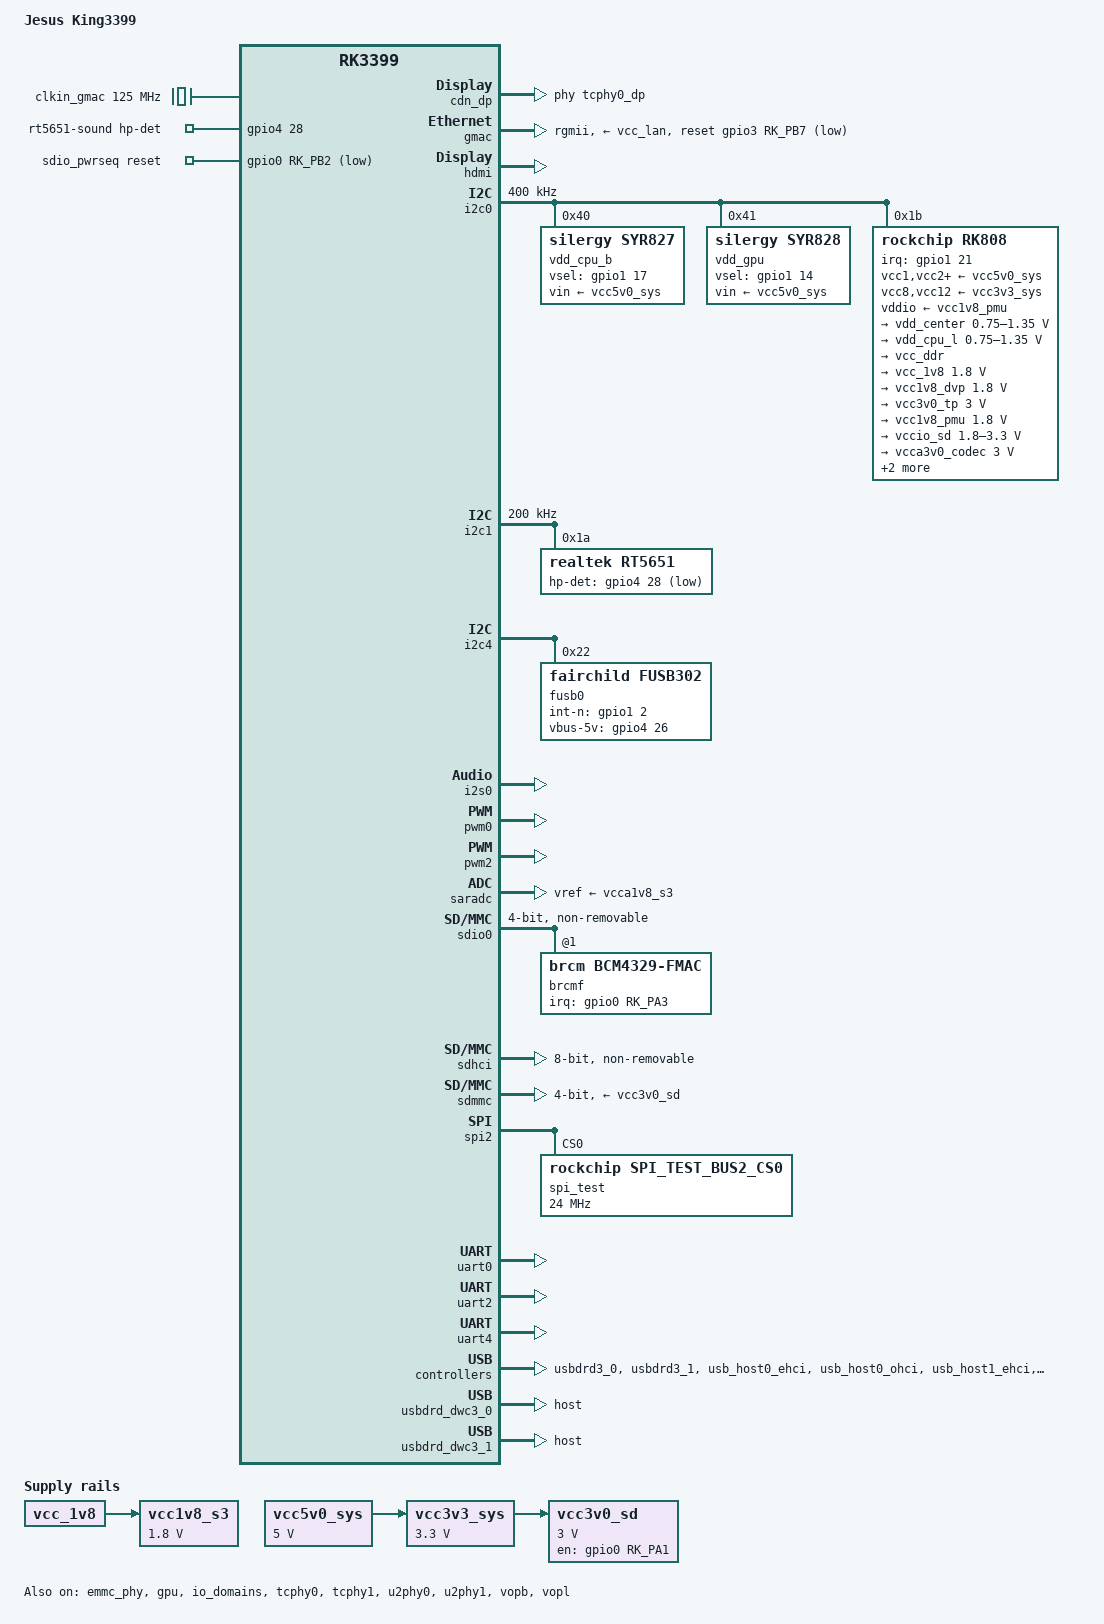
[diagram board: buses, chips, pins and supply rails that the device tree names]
/dts-v1/;
#include "dt-bindings/pwm/pwm.h"
#include "dt-bindings/input/input.h"
#include "rk3399.dtsi"
#include "rk3399-opp.dtsi"
// #include "rk3399-sapphire.dtsi"

/ {

	model = "Jesus King3399";
	compatible = "jesus,king3399","rongpin,king3399","rockchip,rk3399-excavator-linux", "rockchip,rk3399";

	clkin_gmac: external-gmac-clock {
		compatible = "fixed-clock";
		clock-frequency = <125000000>;
		clock-output-names = "clkin_gmac";
		#clock-cells = <0>;
	};

	rt5651-sound {
		compatible = "simple-audio-card";
		simple-audio-card,name = "realtek,rt5651-codec";
		simple-audio-card,widgets =
			"Microphone", "Mic Jack",
			"Headphone", "Headphone Jack";
		simple-audio-card,routing =
			"Mic Jack", "micbias1",
			"IN1P", "Mic Jack",
			"Headphone Jack", "HPOL",
			"Headphone Jack", "HPOR";
		simple-audio-card,hp-det-gpio = <&gpio4 28 GPIO_ACTIVE_HIGH>;
		simple-audio-card,dai-link {
			format = "i2s";
			mclk-fs = <256>;
			i2s0_dai: cpu {
				sound-dai = <&i2s0>;
			};
			rt5651_dai: codec {
				sound-dai = <&rt5651>;
			};
		};
	};

	rp_power {
	    compatible = "rp_power";

	    rp_not_deep_sleep = <1>;
	    status = "okay";

	    // GPIO_FUNCTION_OUTPUT 0
	    // GPIO_FUNCTION_INPUT 1
	    // GPIO_FUNCTION_IRQ 2
	    // GPIO_FUNCTION_FLASH 3
	    // GPIO_FUNCTION_OUTPUT_CTRL 4

	    breathe-led { //run led
		gpio_num = <&gpio4 24 GPIO_ACTIVE_HIGH>;
		gpio_function = <3>;
	    };

	    power_en {
		gpio_num = <&gpio4 30 GPIO_ACTIVE_HIGH>;
		gpio_function = <4>;
	    };

	    uart5_en {
		gpio_num = <&gpio4 29 GPIO_ACTIVE_HIGH>;
		gpio_function = <4>;
	    };

	    hub_rst {
		gpio_num = <&gpio1 24 GPIO_ACTIVE_HIGH>;
		gpio_function = <4>;
	    };

	    fan_open {
		gpio_num = <&gpio1 18 GPIO_ACTIVE_HIGH>;
		gpio_function = <4>;
	    };

	    gsm_power_en {
		gpio_num = <&gpio4 22 GPIO_ACTIVE_HIGH>;
		gpio_function = <4>;
	    };
	};

	rp_gpio {
		status = "okay";
		compatible = "rp_gpio";
		base_value = <0>; //3288_5.1 = 0   3288_7.1.2 = 992  3288_ubuntu = 992   3399_7.1.2 = 1000 3399_ubuntu = 0

		gpio4c5 {
			gpio_num = <&gpio4 21 GPIO_ACTIVE_HIGH>;
			gpio_function = <0>;	    //0:output，1:input
		};
	};

	/* switched by pmic_sleep */
	vcc1v8_s3: vcca1v8_s3: vcc1v8-s3 {
		compatible = "regulator-fixed";
		regulator-name = "vcc1v8_s3";
		regulator-always-on;
		regulator-boot-on;
		regulator-min-microvolt = <1800000>;
		regulator-max-microvolt = <1800000>;
		vin-supply = <&vcc_1v8>;
	};

	vcc3v0_sd: vcc3v0-sd {
		compatible = "regulator-fixed";
		enable-active-high;
		gpio = <&gpio0 RK_PA1 GPIO_ACTIVE_HIGH>;
		pinctrl-names = "default";
		pinctrl-0 = <&sdmmc0_pwr_h>;
		regulator-always-on;
		regulator-max-microvolt = <3000000>;
		regulator-min-microvolt = <3000000>;
		regulator-name = "vcc3v0_sd";
		vin-supply = <&vcc3v3_sys>;
	};

	vcc3v3_sys: vcc3v3-sys {
		compatible = "regulator-fixed";
		regulator-name = "vcc3v3_sys";
		regulator-always-on;
		regulator-boot-on;
		regulator-min-microvolt = <3300000>;
		regulator-max-microvolt = <3300000>;
		vin-supply = <&vcc5v0_sys>;
	};

	vcc5v0_sys: vcc5v0-sys {
		compatible = "regulator-fixed";
		regulator-name = "vcc5v0_sys";
		regulator-always-on;
		regulator-boot-on;
		regulator-min-microvolt = <5000000>;
		regulator-max-microvolt = <5000000>;
		regulator-state-mem {
			regulator-on-in-suspend;
			regulator-suspend-microvolt = <5000000>;
		};
	};

	sdio_pwrseq: sdio-pwrseq {
		compatible = "mmc-pwrseq-simple";
		clocks = <&rk808 1>;
		clock-names = "ext_clock";
		pinctrl-names = "default";
		pinctrl-0 = <&wifi_enable_h>;

		/*
		 * On the module itself this is one of these (depending
		 * on the actual card populated):
		 * - SDIO_RESET_L_WL_REG_ON
		 * - PDN (power down when low)
		 */
		reset-gpios = <&gpio0 RK_PB2 GPIO_ACTIVE_LOW>;
	};
};

&cdn_dp {
	status = "okay";
	extcon = <&fusb0>;
	phys = <&tcphy0_dp>;
};

&cpu_l0 {
	cpu-supply = <&vdd_cpu_l>;
};

&cpu_l1 {
	cpu-supply = <&vdd_cpu_l>;
};

&cpu_l2 {
	cpu-supply = <&vdd_cpu_l>;
};

&cpu_l3 {
	cpu-supply = <&vdd_cpu_l>;
};

&cpu_b0 {
	cpu-supply = <&vdd_cpu_b>;
};

&cpu_b1 {
	cpu-supply = <&vdd_cpu_b>;
};

&emmc_phy {
	status = "okay";
};

&gmac {
	assigned-clocks = <&cru SCLK_RMII_SRC>;
	assigned-clock-parents = <&clkin_gmac>;
	clock_in_out = "input";
	phy-supply = <&vcc_lan>;
	phy-mode = "rgmii";
	pinctrl-names = "default";
	pinctrl-0 = <&rgmii_pins>;
	snps,reset-gpio = <&gpio3 RK_PB7 GPIO_ACTIVE_LOW>;
	snps,reset-active-low;
	snps,reset-delays-us = <0 10000 50000>;
	tx_delay = <0x28>;
	rx_delay = <0x11>;
	status = "okay";
};

&gpu {
	mali-supply = <&vdd_gpu>;
	status = "okay";
};

&hdmi_sound {
	status = "disabled";
};

&hdmi {
	#address-cells = <1>;
	#size-cells = <0>;
	#sound-dai-cells = <0>;
	ddc-i2c-scl-high-time-ns = <9625>;
	ddc-i2c-scl-low-time-ns = <10000>;
	ddc-i2c-bus = <&i2c3>;
	pinctrl-names = "default";
	pinctrl-0 = <&hdmi_cec>;
	status = "okay";
	rockchip,phy-table =
		<74250000  0x8009 0x0004 0x0272>,
		<165000000 0x802b 0x0004 0x0209>,
		<297000000 0x8039 0x0005 0x028d>,
		<594000000 0x8039 0x0000 0x00f6>,
		<000000000 0x0000 0x0000 0x0000>;
};

&i2c0 {
	status = "okay";
	i2c-scl-rising-time-ns = <168>;
	i2c-scl-falling-time-ns = <4>;
	clock-frequency = <400000>;

	vdd_cpu_b: regulator@40 {
		compatible = "silergy,syr827";
		reg = <0x40>;
		vin-supply = <&vcc5v0_sys>;
		regulator-compatible = "fan53555-reg";
		pinctrl-names = "default";
		pinctrl-0 = <&vsel1_pin>;
		vsel-gpios = <&gpio1 17 GPIO_ACTIVE_HIGH>;
		regulator-name = "vdd_cpu_b";
		regulator-min-microvolt = <712500>;
		regulator-max-microvolt = <1500000>;
		regulator-ramp-delay = <1000>;
		fcs,suspend-voltage-selector = <1>;
		regulator-always-on;
		regulator-boot-on;
		regulator-initial-state = <3>;
			regulator-state-mem {
			regulator-off-in-suspend;
		};
	};

	vdd_gpu: regulator@41 {
		compatible = "silergy,syr828";
		reg = <0x41>;
		vin-supply = <&vcc5v0_sys>;
		regulator-compatible = "fan53555-reg";
		pinctrl-names = "default";
		pinctrl-0 = <&vsel2_pin>;
		vsel-gpios = <&gpio1 14 GPIO_ACTIVE_HIGH>;
		regulator-name = "vdd_gpu";
		regulator-min-microvolt = <712500>;
		regulator-max-microvolt = <1500000>;
		regulator-ramp-delay = <1000>;
		fcs,suspend-voltage-selector = <1>;
		regulator-always-on;
		regulator-boot-on;
		regulator-initial-state = <3>;
			regulator-state-mem {
			regulator-off-in-suspend;
		};
	};

	rk808: pmic@1b {
		compatible = "rockchip,rk808";
		reg = <0x1b>;
		interrupt-parent = <&gpio1>;
		interrupts = <21 IRQ_TYPE_LEVEL_LOW>;
		pinctrl-names = "default";
		pinctrl-0 = <&pmic_int_l>;
		rockchip,system-power-controller;
		wakeup-source;
		#clock-cells = <1>;
	      //  clock-output-names = "xin32k", "rk808-clkout2";
		clock-output-names = "rk808-clkout1", "rk808-clkout2";   //wifi

		vcc1-supply = <&vcc5v0_sys>;
		vcc2-supply = <&vcc5v0_sys>;
		vcc3-supply = <&vcc5v0_sys>;
		vcc4-supply = <&vcc5v0_sys>;
		vcca-supply = <&vcc5v0_sys>;
		vcc6-supply = <&vcc5v0_sys>;
		vcc7-supply = <&vcc5v0_sys>;
		vcc8-supply = <&vcc3v3_sys>;
		vcc9-supply = <&vcc5v0_sys>;
		vcc10-supply = <&vcc5v0_sys>;
		vcc11-supply = <&vcc5v0_sys>;
		vcc12-supply = <&vcc3v3_sys>;
		vddio-supply = <&vcc1v8_pmu>;

		regulators {
			vdd_center: DCDC_REG1 {
				regulator-always-on;
				regulator-boot-on;
				regulator-min-microvolt = <750000>;
				regulator-max-microvolt = <1350000>;
				regulator-ramp-delay = <6001>;
				regulator-name = "vdd_center";
				regulator-state-mem {
					regulator-off-in-suspend;
				};
			};

			vdd_cpu_l: DCDC_REG2 {
				regulator-always-on;
				regulator-boot-on;
				regulator-min-microvolt = <750000>;
				regulator-max-microvolt = <1350000>;
				regulator-ramp-delay = <6001>;
				regulator-name = "vdd_cpu_l";
				regulator-state-mem {
					regulator-off-in-suspend;
				};
			};

			vcc_ddr: DCDC_REG3 {
				regulator-always-on;
				regulator-boot-on;
				regulator-name = "vcc_ddr";
				regulator-state-mem {
					regulator-on-in-suspend;
				};
			};

			vcc_1v8: DCDC_REG4 {
				regulator-always-on;
				regulator-boot-on;
				regulator-min-microvolt = <1800000>;
				regulator-max-microvolt = <1800000>;
				regulator-name = "vcc_1v8";
				regulator-state-mem {
					regulator-on-in-suspend;
					regulator-suspend-microvolt = <1800000>;
				};
			};

			vcc1v8_dvp: LDO_REG1 {
				regulator-always-on;
				regulator-boot-on;
				regulator-min-microvolt = <1800000>;
				regulator-max-microvolt = <1800000>;
				regulator-name = "vcc1v8_dvp";
				regulator-state-mem {
					regulator-off-in-suspend;
				};
			};

			vcc3v0_tp: LDO_REG2 {
				regulator-always-on;
				regulator-boot-on;
				regulator-min-microvolt = <3000000>;
				regulator-max-microvolt = <3000000>;
				regulator-name = "vcc3v0_tp";
				regulator-state-mem {
					//regulator-off-in-suspend;
					regulator-on-in-suspend;
					regulator-suspend-microvolt = <3000000>;
				};
			};

			vcc1v8_pmu: LDO_REG3 {
				regulator-always-on;
				regulator-boot-on;
				regulator-min-microvolt = <1800000>;
				regulator-max-microvolt = <1800000>;
				regulator-name = "vcc1v8_pmu";
				regulator-state-mem {
					regulator-on-in-suspend;
					regulator-suspend-microvolt = <1800000>;
				};
			};

			vccio_sd: LDO_REG4 {
				regulator-always-on;
				regulator-boot-on;
				regulator-min-microvolt = <1800000>;
				regulator-max-microvolt = <3300000>;
				regulator-name = "vccio_sd";
				regulator-state-mem {
					regulator-on-in-suspend;
					regulator-suspend-microvolt = <3300000>;
				};
			};

			vcca3v0_codec: LDO_REG5 {
				regulator-always-on;
				regulator-boot-on;
				regulator-min-microvolt = <3000000>;
				regulator-max-microvolt = <3000000>;
				regulator-name = "vcca3v0_codec";
				regulator-state-mem {
					regulator-off-in-suspend;
				     //   regulator-suspend-microvolt = <3000000>;
				};
			};

			vcc_1v5: LDO_REG6 {
				regulator-always-on;
				regulator-boot-on;
				regulator-min-microvolt = <1500000>;
				regulator-max-microvolt = <1500000>;
				regulator-name = "vcc_1v5";
				regulator-state-mem {
					regulator-on-in-suspend;
					regulator-suspend-microvolt = <1500000>;
				};
			};

			vcca1v8_codec: LDO_REG7 {
				regulator-always-on;
				regulator-boot-on;
				regulator-min-microvolt = <1800000>;
				regulator-max-microvolt = <1800000>;
				regulator-name = "vcca1v8_codec";
				regulator-state-mem {
					regulator-off-in-suspend;
				    //    regulator-suspend-microvolt = <1800000>;
				};
			};

			vcc_3v0: LDO_REG8 {
				regulator-always-on;
				regulator-boot-on;
				regulator-min-microvolt = <3000000>;
				regulator-max-microvolt = <3000000>;
				regulator-name = "vcc_3v0";
				regulator-state-mem {
					regulator-on-in-suspend;
					regulator-suspend-microvolt = <3000000>;
				};
			};

			vcc3v3_s3: vcc_lan: SWITCH_REG1 {
				regulator-name = "vcc3v3_s3";
				regulator-always-on;
				regulator-boot-on;
				regulator-state-mem {
					regulator-off-in-suspend;
				};
			};

			vcc3v3_s0: SWITCH_REG2 {
				regulator-always-on;
				regulator-boot-on;
				regulator-name = "vcc3v3_s0";
				regulator-state-mem {
					regulator-off-in-suspend;
				};
			};

		};
	};
};

&i2c1 {
	status = "okay";
	i2c-scl-rising-time-ns = <300>;
	i2c-scl-falling-time-ns = <15>;
	clock-frequency = <200000>;

	rt5651: codec@1a {
		#sound-dai-cells = <0>;
		compatible = "realtek,rt5651";
		reg = <0x1a>;
		clocks = <&cru SCLK_I2S_8CH_OUT>;
		clock-names = "mclk";
		// pinctrl-names = "default";
		// pinctrl-0 = <&i2s_8ch_mclk_pin>;
		// spk-con-gpio = <&gpio0 11 GPIO_ACTIVE_HIGH>;
		pinctrl-names = "default";
		pinctrl-0 = <&hp_det_pin>;
		hp-det-gpio = <&gpio4 28 GPIO_ACTIVE_LOW>;
	};
};

&i2c4 {
	fusb0: fusb30x@22 {
		compatible = "fairchild,fusb302";
		reg = <0x22>;
		pinctrl-names = "default";
		pinctrl-0 = <&fusb0_int>;
		int-n-gpios = <&gpio1 2 GPIO_ACTIVE_HIGH>;
		vbus-5v-gpios = <&gpio4 26 GPIO_ACTIVE_HIGH>;
		status = "okay";
	};
};

&i2s0 {
	#sound-dai-cells = <0>;
	rockchip,playback-channels = <8>;
	rockchip,capture-channels = <8>;
	status = "okay";
};

&io_domains {
	status = "okay";
	bt656-supply = <&vcc_1v8>;	      /* bt656_gpio2ab_ms */
	audio-supply = <&vcca1v8_codec>;	/* audio_gpio3d4a_ms */
	sdmmc-supply = <&vccio_sd>;	     /* sdmmc_gpio4b_ms */
	gpio1830-supply = <&vcc_3v0>;	   /* gpio1833_gpio4cd_ms */
};

&pmu_io_domains {
	status = "okay";
	pmu1830-supply = <&vcc_1v8>;     //king usb
};

&pinctrl {
	/*
	i2s1 {
		i2s_8ch_mclk_pin: i2s-8ch-mclk-pin {
			rockchip,pins = <4 RK_PA0 1 &pcfg_pull_none>;
		};
	};
	*/
	fusb30x {
		fusb0_int: fusb0-int {
			rockchip,pins = <1 2 RK_FUNC_GPIO &pcfg_pull_up>;
		};
	};

	pmic {
		pmic_int_l: pmic-int-l {
			rockchip,pins =
				<1 RK_PC5 RK_FUNC_GPIO &pcfg_pull_up>;
		};

		vsel1_pin: vsel1-pin {
			rockchip,pins = <1 RK_PC1 RK_FUNC_GPIO &pcfg_pull_down>;
		};

		vsel2_pin: vsel2-pin {
			rockchip,pins = <1 RK_PB6 RK_FUNC_GPIO &pcfg_pull_down>;
		};
	};

	rt5651-sound {
		hp_det_pin: hp-det-pin {
			rockchip,pins = <4 28 RK_FUNC_GPIO &pcfg_pull_up>;
		};
	};

	sd {
		sdmmc0_pwr_h: sdmmc0-pwr-h {
			rockchip,pins =
				<0 RK_PA1 RK_FUNC_GPIO &pcfg_pull_none>;
		};
	};

	sdio-pwrseq {
		wifi_enable_h: wifi-enable-h {
			rockchip,pins = <0 RK_PB2 RK_FUNC_GPIO &pcfg_pull_none>;
		};
	};

	wifi {
		wifi_host_wake_l: wifi-host-wake-l {
			rockchip,pins = <0 RK_PA3 RK_FUNC_GPIO &pcfg_pull_none>;
		};
	};
};

&pwm0 {
	status = "okay";
};

&pwm2 {
	status = "okay";
};

&saradc {
	vref-supply = <&vcca1v8_s3>;
	status = "okay";
};

&sdio0 {
	clock-frequency = <50000000>;
	clock-freq-min-max = <200000 50000000>;
	supports-sdio;
	bus-width = <4>;
	disable-wp;
	cap-sd-highspeed;
	cap-sdio-irq;
	keep-power-in-suspend;
	mmc-pwrseq = <&sdio_pwrseq>;
	non-removable;
	num-slots = <1>;
	pinctrl-names = "default";
	pinctrl-0 = <&sdio0_bus4 &sdio0_cmd &sdio0_clk>;
	sd-uhs-sdr104;

	#address-cells = <1>;
	#size-cells = <0>;

	status = "okay";
	  
	brcmf: wifi@1 {
		reg = <1>;
		compatible = "brcm,bcm4329-fmac";
		interrupt-parent = <&gpio0>;
		interrupts = <RK_PA3 IRQ_TYPE_LEVEL_HIGH>;
		interrupt-names = "host-wake";
		brcm,drive-strength = <5>;
		pinctrl-names = "default";
		pinctrl-0 = <&wifi_host_wake_l>;
	};
};

&sdhci {
	bus-width = <8>;
	mmc-hs400-1_8v;
	mmc-hs400-enhanced-strobe;
	non-removable;
	status = "okay";
};

&sdmmc {
	broken-cd;
	bus-width = <4>;
	cap-mmc-highspeed;
	cap-sd-highspeed;
	clock-frequency = <150000000>;
	disable-wp;
	max-frequency = <150000000>;
	pinctrl-names = "default";
	pinctrl-0 = <&sdmmc_clk &sdmmc_cmd &sdmmc_cd &sdmmc_bus4>;
	vmmc-supply = <&vcc3v0_sd>;
	vqmmc-supply = <&vccio_sd>;
	status = "okay";
};

&spi1 {
	status = "disabled";
};

&spi2 {
	status = "okay";
	max-freq = <50000000>;
	spi_test:spi_test@0 {
		status = "okay";
		compatible = "rockchip,spi_test_bus2_cs0";
		id = <2>;
		reg = <0x0>;
		spi-max-frequency = <24000000>;
		spi-cpha;
		spi-cpol;
	};
};

&tcphy0 {
	extcon = <&fusb0>;
	status = "okay";
};

&tcphy1 {
	status = "okay";
};

&u2phy0 {
	status = "okay";
	extcon = <&fusb0>;

	u2phy0_otg: otg-port {
		status = "okay";
	};

	u2phy0_host: host-port {
		status = "okay";
	};
};

&u2phy1 {
	status = "okay";

	u2phy1_otg: otg-port {
		status = "okay";
	};

	u2phy1_host: host-port {
		status = "okay";
	};
};

&uart0 {
	pinctrl-names = "default";
	pinctrl-0 = <&uart0_xfer &uart0_cts>;
	status = "okay";
};

&uart2 {
	status = "okay";
};

&uart4 {
	status = "okay";
};

&usbdrd3_0 {
	status = "okay";
	extcon = <&fusb0>;
};

&usbdrd3_1 {
	status = "okay";
};

&usbdrd_dwc3_0 {
	status = "okay";
	dr_mode = "host";
};

&usbdrd_dwc3_1 {
	status = "okay";
	dr_mode = "host";
};

&usb_host0_ehci {
	status = "okay";
};

&usb_host0_ohci {
	status = "okay";
};

&usb_host1_ehci {
	status = "okay";
};

&usb_host1_ohci {
	status = "okay";
};

&vopb {
	status = "okay";
};

&vopb_mmu {
	status = "okay";
};

&vopl {
	status = "okay";
};

&vopl_mmu {
	status = "okay";
};

